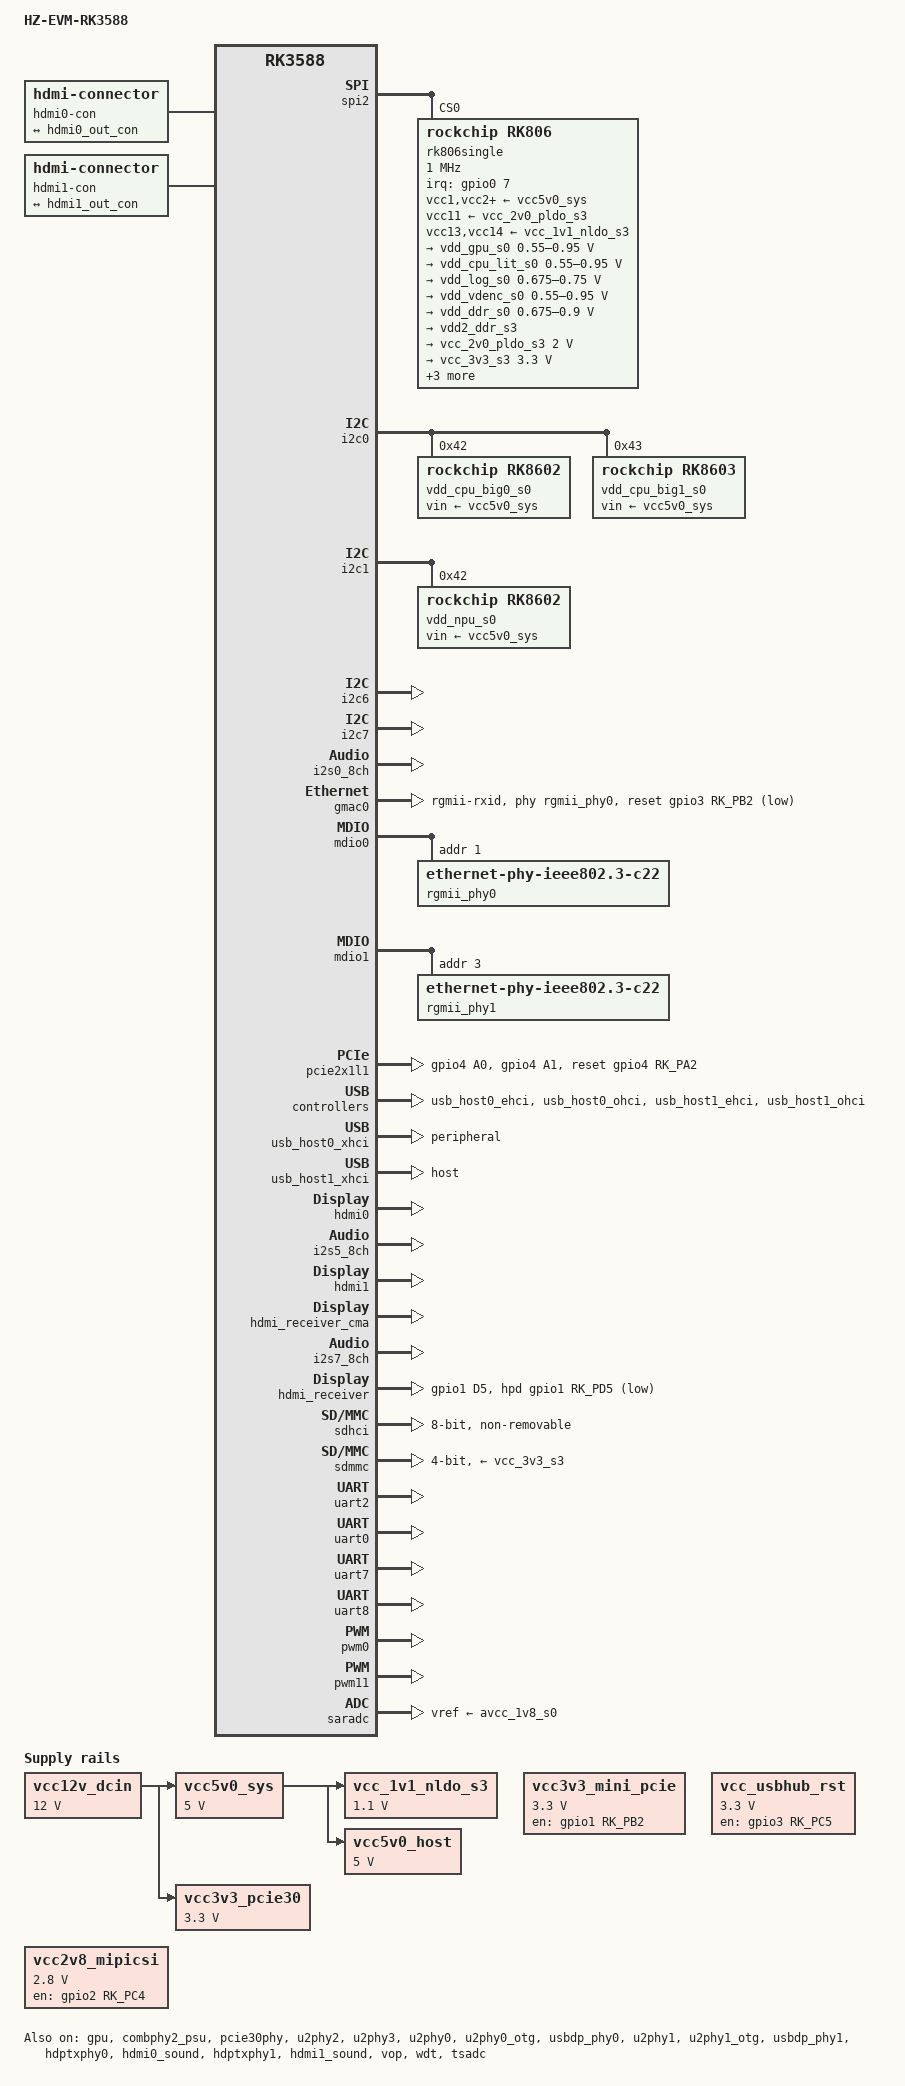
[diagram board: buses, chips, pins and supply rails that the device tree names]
// SPDX-License-Identifier: (GPL-2.0+ OR MIT)
/*
 * HZ-EVM-RK3588 (合众恒跃) board device tree
 * Mainline kernel 6.18 (Armbian current branch)
 *
 * Based on rockchip,rk3588-evb7-lp4-v10 BSP dts, ported to mainline.
 * PMIC (RK806 via spi2) + CPU regulators (rk8602/rk8603) reused from
 * EasePi-R2 mainline dts (identical bus/topology).
 *
 * Cameras (i2c4 + 4xIMX415 + rkcif/rkisp) omitted — mainline has no
 * rockchip-private rkcif/rkisp nodes; per board owner's request.
 * MIPI DSI panels not included either.
 */

/dts-v1/;

#include <dt-bindings/gpio/gpio.h>
#include <dt-bindings/input/input.h>
#include <dt-bindings/pinctrl/rockchip.h>
#include <dt-bindings/soc/rockchip,vop2.h>
#include <dt-bindings/usb/pd.h>
#include "rk3588.dtsi"

/ {
	model = "HZ-EVM-RK3588";
	compatible = "hezuo,hz-evm-rk3588", "rockchip,rk3588";

	aliases {
		mmc0 = &sdmmc;
		mmc1 = &sdhci;
		/* 必须给 U-Boot 的 fdt_fixup_ethernet 用，否则双千兆拿不到 MAC */
		ethernet0 = &gmac0;
		ethernet1 = &gmac1;
	};

	chosen {
		stdout-path = "serial2:1500000n8";
	};

	sound {
		compatible = "simple-audio-card";
		status = "disabled"; /* 先关：es8388 codec I2C 读不到，声卡先禁用 */
		simple-audio-card,format = "i2s";
		simple-audio-card,name = "HZ-EVM-ES8388";
		simple-audio-card,mclk-fs = <256>;

		simple-audio-card,cpu {
			sound-dai = <&i2s0_8ch>;
		};

		simple-audio-card,codec {
			sound-dai = <&es8388>;
			system-clock-frequency = <12288000>;
		};
	};

	/* fixed regulators */
	vcc12v_dcin: vcc12v-dcin {
		compatible = "regulator-fixed";
		regulator-always-on;
		regulator-boot-on;
		regulator-min-microvolt = <12000000>;
		regulator-max-microvolt = <12000000>;
		regulator-name = "vcc12v_dcin";
	};

	vcc5v0_sys: vcc5v0-sys {
		compatible = "regulator-fixed";
		regulator-always-on;
		regulator-boot-on;
		regulator-min-microvolt = <5000000>;
		regulator-max-microvolt = <5000000>;
		regulator-name = "vcc5v0_sys";
		vin-supply = <&vcc12v_dcin>;
	};

	vcc_1v1_nldo_s3: vcc-1v1-nldo-s3 {
		compatible = "regulator-fixed";
		regulator-always-on;
		regulator-boot-on;
		regulator-min-microvolt = <1100000>;
		regulator-max-microvolt = <1100000>;
		regulator-name = "vcc_1v1_nldo_s3";
		vin-supply = <&vcc5v0_sys>;
	};

	/* PCIe 3.0 (3x4) 3v3 supply */
	vcc3v3_pcie30: vcc3v3-pcie30 {
		compatible = "regulator-fixed";
		regulator-min-microvolt = <3300000>;
		regulator-max-microvolt = <3300000>;
		regulator-name = "vcc3v3_pcie30";
		vin-supply = <&vcc12v_dcin>;
	};

	/* mini-PCIe power enable (gpio1 PB2) */
	vcc3v3_mini_pcie: vcc3v3-mini-pcie-regulator {
		compatible = "regulator-fixed";
		regulator-always-on;
		enable-active-high;
		gpio = <&gpio1 RK_PB2 GPIO_ACTIVE_HIGH>;
		regulator-name = "vcc_pcie_regulator";
		regulator-min-microvolt = <3300000>;
		regulator-max-microvolt = <3300000>;
	};

	/* USB host 5v0 */
	vcc5v0_host: vcc5v0-host {
		compatible = "regulator-fixed";
		regulator-name = "vcc5v0_host";
		regulator-boot-on;
		regulator-always-on;
		regulator-min-microvolt = <5000000>;
		regulator-max-microvolt = <5000000>;
		enable-active-high;
		vin-supply = <&vcc5v0_sys>;
	};

	/* USB hub (GL852G) reset */
	vcc_usbhub_rst: vcc-usbhub-rst {
		compatible = "regulator-fixed";
		regulator-always-on;
		enable-active-high;
		gpio = <&gpio3 RK_PC5 GPIO_ACTIVE_HIGH>;
		regulator-name = "vcc_usbhub_rst";
		regulator-min-microvolt = <3300000>;
		regulator-max-microvolt = <3300000>;
	};

	/* MIPI CSI 2v8 (kept for hw, cameras themselves omitted) */
	vcc2v8_mipicsi: vcc2v8-mipics0-regulator {
		compatible = "regulator-fixed";
		enable-active-high;
		regulator-always-on;
		gpio = <&gpio2 RK_PC4 GPIO_ACTIVE_HIGH>;
		regulator-name = "vcc_mipicsi";
		regulator-min-microvolt = <2800000>;
		regulator-max-microvolt = <2800000>;
	};

	hdmi0-con {
		compatible = "hdmi-connector";
		type = "a";
		port {
			hdmi0_con_in: endpoint {
				remote-endpoint = <&hdmi0_out_con>;
			};
		};
	};

	hdmi1-con {
		compatible = "hdmi-connector";
		type = "a";
		port {
			hdmi1_con_in: endpoint {
				remote-endpoint = <&hdmi1_out_con>;
			};
		};
	};
};

/* ===== PMIC (RK806 via spi2 — identical to EasePi-R2) ===== */

&spi2 {
	assigned-clocks = <&cru CLK_SPI2>;
	assigned-clock-rates = <200000000>;
	num-cs = <1>;
	pinctrl-names = "default";
	pinctrl-0 = <&spi2m2_cs0 &spi2m2_pins>;
	status = "okay";

	rk806single: pmic@0 {
		compatible = "rockchip,rk806";
		reg = <0x0>;

		interrupt-parent = <&gpio0>;
		interrupts = <7 IRQ_TYPE_LEVEL_LOW>;

		pinctrl-names = "default";
		pinctrl-0 = <&pmic_pins>, <&rk806_dvs1_null>,
			    <&rk806_dvs2_null>, <&rk806_dvs3_null>;

		rockchip,reset-mode = <1>;
		long-press-off-time-sec = <10>;
		spi-max-frequency = <1000000>;
		system-power-controller;

		vcc1-supply = <&vcc5v0_sys>;
		vcc2-supply = <&vcc5v0_sys>;
		vcc3-supply = <&vcc5v0_sys>;
		vcc4-supply = <&vcc5v0_sys>;
		vcc5-supply = <&vcc5v0_sys>;
		vcc6-supply = <&vcc5v0_sys>;
		vcc7-supply = <&vcc5v0_sys>;
		vcc8-supply = <&vcc5v0_sys>;
		vcc9-supply = <&vcc5v0_sys>;
		vcc10-supply = <&vcc5v0_sys>;
		vcc11-supply = <&vcc_2v0_pldo_s3>;
		vcc12-supply = <&vcc5v0_sys>;
		vcc13-supply = <&vcc_1v1_nldo_s3>;
		vcc14-supply = <&vcc_1v1_nldo_s3>;
		vcca-supply = <&vcc5v0_sys>;

		gpio-controller;
		#gpio-cells = <2>;

		rk806_dvs1_null: dvs1-null-pins { pins = "gpio_pwrctrl1"; function = "pin_fun0"; };
		rk806_dvs2_null: dvs2-null-pins { pins = "gpio_pwrctrl2"; function = "pin_fun0"; };
		rk806_dvs3_null: dvs3-null-pins { pins = "gpio_pwrctrl3"; function = "pin_fun0"; };

		regulators {
			vdd_gpu_s0: vdd_gpu_mem_s0: dcdc-reg1 {
				regulator-boot-on; regulator-min-microvolt = <550000>;
				regulator-max-microvolt = <950000>; regulator-ramp-delay = <12500>;
				regulator-name = "vdd_gpu_s0"; regulator-enable-ramp-delay = <400>;
				regulator-state-mem { regulator-off-in-suspend; };
			};
			vdd_cpu_lit_s0: vdd_cpu_lit_mem_s0: dcdc-reg2 {
				regulator-always-on; regulator-boot-on; regulator-min-microvolt = <550000>;
				regulator-max-microvolt = <950000>; regulator-ramp-delay = <12500>;
				regulator-name = "vdd_cpu_lit_s0";
				regulator-state-mem { regulator-off-in-suspend; };
			};
			vdd_log_s0: dcdc-reg3 {
				regulator-always-on; regulator-boot-on; regulator-min-microvolt = <675000>;
				regulator-max-microvolt = <750000>; regulator-ramp-delay = <12500>;
				regulator-name = "vdd_log_s0";
				regulator-state-mem { regulator-off-in-suspend; regulator-suspend-microvolt = <750000>; };
			};
			vdd_vdenc_s0: vdd_vdenc_mem_s0: dcdc-reg4 {
				regulator-always-on; regulator-boot-on; regulator-min-microvolt = <550000>;
				regulator-max-microvolt = <950000>; regulator-ramp-delay = <12500>;
				regulator-name = "vdd_vdenc_s0";
				regulator-state-mem { regulator-off-in-suspend; };
			};
			vdd_ddr_s0: dcdc-reg5 {
				regulator-always-on; regulator-boot-on; regulator-min-microvolt = <675000>;
				regulator-max-microvolt = <900000>; regulator-ramp-delay = <12500>;
				regulator-name = "vdd_ddr_s0";
				regulator-state-mem { regulator-off-in-suspend; regulator-suspend-microvolt = <850000>; };
			};
			vdd2_ddr_s3: dcdc-reg6 {
				regulator-always-on; regulator-boot-on; regulator-name = "vdd2_ddr_s3";
				regulator-state-mem { regulator-on-in-suspend; };
			};
			vcc_2v0_pldo_s3: dcdc-reg7 {
				regulator-always-on; regulator-boot-on; regulator-min-microvolt = <2000000>;
				regulator-max-microvolt = <2000000>; regulator-ramp-delay = <12500>;
				regulator-name = "vdd_2v0_pldo_s3";
				regulator-state-mem { regulator-on-in-suspend; regulator-suspend-microvolt = <2000000>; };
			};
			vcc_3v3_s3: dcdc-reg8 {
				regulator-always-on; regulator-boot-on; regulator-min-microvolt = <3300000>;
				regulator-max-microvolt = <3300000>; regulator-name = "vcc_3v3_s3";
				regulator-state-mem { regulator-on-in-suspend; regulator-suspend-microvolt = <3300000>; };
			};
			vddq_ddr_s0: dcdc-reg9 {
				regulator-always-on; regulator-boot-on; regulator-name = "vddq_ddr_s0";
				regulator-state-mem { regulator-off-in-suspend; };
			};
			vcc_1v8_s3: dcdc-reg10 {
				regulator-always-on; regulator-boot-on; regulator-min-microvolt = <1800000>;
				regulator-max-microvolt = <1800000>; regulator-name = "vcc_1v8_s3";
				regulator-state-mem { regulator-on-in-suspend; regulator-suspend-microvolt = <1800000>; };
			};
			avcc_1v8_s0: pldo-reg1 {
				regulator-always-on; regulator-boot-on; regulator-min-microvolt = <1800000>;
				regulator-max-microvolt = <1800000>; regulator-name = "avcc_1v8_s0";
				regulator-state-mem { regulator-off-in-suspend; regulator-suspend-microvolt = <1800000>; };
			};
			vcc_1v8_s0: pldo-reg2 {
				regulator-always-on; regulator-boot-on; regulator-min-microvolt = <1800000>;
				regulator-max-microvolt = <1800000>; regulator-name = "vcc_1v8_s0";
				regulator-state-mem { regulator-off-in-suspend; regulator-suspend-microvolt = <1800000>; };
			};
			avdd_1v2_s0: pldo-reg3 {
				regulator-always-on; regulator-boot-on; regulator-min-microvolt = <1200000>;
				regulator-max-microvolt = <1200000>; regulator-name = "avdd_1v2_s0";
				regulator-state-mem { regulator-off-in-suspend; };
			};
			vcc_3v3_s0: avcc_3v3_s0: pldo-reg4 {
				regulator-always-on; regulator-boot-on; regulator-min-microvolt = <3300000>;
				regulator-max-microvolt = <3300000>; regulator-ramp-delay = <12500>;
				regulator-name = "avcc_3v3_s0";
				regulator-state-mem { regulator-off-in-suspend; };
			};
			vccio_sd_s0: pldo-reg5 {
				regulator-always-on; regulator-boot-on; regulator-min-microvolt = <1800000>;
				regulator-max-microvolt = <3300000>; regulator-ramp-delay = <12500>;
				regulator-name = "vccio_sd_s0";
				regulator-state-mem { regulator-off-in-suspend; };
			};
			pldo6_s3: pldo-reg6 {
				regulator-always-on; regulator-boot-on; regulator-min-microvolt = <1800000>;
				regulator-max-microvolt = <1800000>; regulator-name = "pldo6_s3";
				regulator-state-mem { regulator-on-in-suspend; regulator-suspend-microvolt = <1800000>; };
			};
			vdd_0v75_s3: nldo-reg1 {
				regulator-always-on; regulator-boot-on; regulator-min-microvolt = <750000>;
				regulator-max-microvolt = <750000>; regulator-name = "vdd_0v75_s3";
				regulator-state-mem { regulator-on-in-suspend; regulator-suspend-microvolt = <750000>; };
			};
			vdd_ddr_pll_s0: avdd_ddr_pll_s0: nldo-reg2 {
				regulator-always-on; regulator-boot-on; regulator-min-microvolt = <850000>;
				regulator-max-microvolt = <850000>; regulator-name = "avdd_ddr_pll_s0";
				regulator-state-mem { regulator-off-in-suspend; regulator-suspend-microvolt = <850000>; };
			};
			avdd_0v75_s0: nldo-reg3 {
				regulator-always-on; regulator-boot-on; regulator-min-microvolt = <837500>;
				regulator-max-microvolt = <837500>; regulator-name = "avdd_0v75_s0";
				regulator-state-mem { regulator-off-in-suspend; };
			};
			vdd_0v85_s0: avdd_0v85_s0: nldo-reg4 {
				regulator-always-on; regulator-boot-on; regulator-min-microvolt = <850000>;
				regulator-max-microvolt = <850000>; regulator-name = "avdd_0v85_s0";
				regulator-state-mem { regulator-off-in-suspend; };
			};
			vdd_0v75_s0: nldo-reg5 {
				regulator-always-on; regulator-boot-on; regulator-min-microvolt = <750000>;
				regulator-max-microvolt = <750000>; regulator-name = "vdd_0v75_s0";
				regulator-state-mem { regulator-off-in-suspend; };
			};
		};
	};
};

/* ===== CPU Power (rk8602/rk8603 — same as EasePi) ===== */

&cpu_l0 { cpu-supply = <&vdd_cpu_lit_s0>; };
&cpu_l1 { cpu-supply = <&vdd_cpu_lit_s0>; };
&cpu_l2 { cpu-supply = <&vdd_cpu_lit_s0>; };
&cpu_l3 { cpu-supply = <&vdd_cpu_lit_s0>; };
&cpu_b0 { cpu-supply = <&vdd_cpu_big0_s0>; };
&cpu_b1 { cpu-supply = <&vdd_cpu_big0_s0>; };
&cpu_b2 { cpu-supply = <&vdd_cpu_big1_s0>; };
&cpu_b3 { cpu-supply = <&vdd_cpu_big1_s0>; };

/* 修 cpufreq 启动警告：mainline U-Boot 把大核(CPU4-7)交接在内核时停在 1008MHz，
 * 但 rk3588-opp.dtsi 的 big-cluster OPP 表最低档是 1200MHz，内核报
 * "Running at unlisted initial frequency: 1008000 kHz"。给 cluster1/cluster2 追一条
 * 1008MHz OPP（电压取 1200MHz 档标称 675000，保守安全）使其合法化，警告即消失。
 * little-cluster(cluster0) 本来就有 1008 档，所以只有大核报。 */
&cluster1_opp_table {
	opp-1008000000 {
		opp-hz = /bits/ 64 <1008000000>;
		opp-microvolt = <675000 675000 1000000>;
		clock-latency-ns = <40000>;
	};
};

&cluster2_opp_table {
	opp-1008000000 {
		opp-hz = /bits/ 64 <1008000000>;
		opp-microvolt = <675000 675000 1000000>;
		clock-latency-ns = <40000>;
	};
};

&i2c0 {
	pinctrl-names = "default";
	pinctrl-0 = <&i2c0m2_xfer>;
	status = "okay";

	vdd_cpu_big0_s0: regulator@42 {
		compatible = "rockchip,rk8602";
		reg = <0x42>;
		fcs,suspend-voltage-selector = <1>;
		regulator-name = "vdd_cpu_big0_s0";
		regulator-always-on; regulator-boot-on;
		regulator-min-microvolt = <550000>; regulator-max-microvolt = <1050000>;
		regulator-ramp-delay = <2300>;
		vin-supply = <&vcc5v0_sys>;
		regulator-state-mem { regulator-off-in-suspend; };
	};

	vdd_cpu_big1_s0: regulator@43 {
		compatible = "rockchip,rk8603", "rockchip,rk8602";
		reg = <0x43>;
		fcs,suspend-voltage-selector = <1>;
		regulator-name = "vdd_cpu_big1_s0";
		regulator-always-on; regulator-boot-on;
		regulator-min-microvolt = <550000>; regulator-max-microvolt = <1050000>;
		regulator-ramp-delay = <2300>;
		vin-supply = <&vcc5v0_sys>;
		regulator-state-mem { regulator-off-in-suspend; };
	};
};

&i2c1 {
	pinctrl-names = "default";
	pinctrl-0 = <&i2c1m2_xfer>;
	status = "okay";

	vdd_npu_s0: regulator@42 {
		compatible = "rockchip,rk8602";
		reg = <0x42>;
		fcs,suspend-voltage-selector = <1>;
		regulator-name = "vdd_npu_s0";
		regulator-always-on; regulator-boot-on;
		regulator-min-microvolt = <550000>; regulator-max-microvolt = <950000>;
		regulator-ramp-delay = <2300>;
		vin-supply = <&vcc5v0_sys>;
		regulator-state-mem { regulator-off-in-suspend; };
	};
};

/* ===== GPU ===== */
&gpu { mali-supply = <&vdd_gpu_s0>; status = "okay"; };
&pd_gpu { domain-supply = <&vdd_gpu_s0>; };

/* ===== RTC (pcf8563 on i2c6) ===== */
&i2c6 {
	pinctrl-names = "default";
	pinctrl-0 = <&i2c6m0_xfer>;
	status = "okay";

	pcf8563: rtc@51 {
		compatible = "nxp,pcf8563";
		status = "disabled"; /* 先关：pcf8563_probe write error */
		reg = <0x51>;
		#clock-cells = <0>;
	};
};

/* ===== Audio (es8388 on i2c7) ===== */
&i2c7 {
	pinctrl-names = "default";
	pinctrl-0 = <&i2c7m0_xfer>;
	status = "okay";

	es8388: audio-codec@11 {
		compatible = "everest,es8388", "everest,es8328";
		status = "disabled"; /* 先关：I2C 读不到，ASoC 一堆 -6 报错 */
		reg = <0x11>;
		#sound-dai-cells = <0>;
		clocks = <&cru I2S0_8CH_MCLKOUT>;
		assigned-clocks = <&cru I2S0_8CH_MCLKOUT>;
		assigned-clock-rates = <12288000>;
	};
};

&i2s0_8ch {
	status = "okay";
	pinctrl-names = "default";
	pinctrl-0 = <&i2s0_lrck &i2s0_mclk &i2s0_sclk &i2s0_sdi0 &i2s0_sdo0>;
};

/* ===== Ethernet (dual GbE gmac0/gmac1, rgmii-rxid) ===== */

&gmac0 {
	phy-mode = "rgmii-rxid";
	clock_in_out = "output";
	snps,reset-gpio = <&gpio3 RK_PB2 GPIO_ACTIVE_LOW>;
	snps,reset-active-low;
	snps,reset-delays-us = <0 20000 100000>;
	pinctrl-names = "default";
	pinctrl-0 = <&gmac0_miim &gmac0_tx_bus2 &gmac0_rx_bus2
		     &gmac0_rgmii_clk &gmac0_rgmii_bus>;
	tx_delay = <0x43>;
	phy-handle = <&rgmii_phy0>;
	status = "okay";
};

&gmac1 {
	phy-mode = "rgmii-rxid";
	clock_in_out = "output";
	snps,reset-gpio = <&gpio3 RK_PB7 GPIO_ACTIVE_LOW>;
	snps,reset-active-low;
	snps,reset-delays-us = <0 20000 100000>;
	pinctrl-names = "default";
	pinctrl-0 = <&gmac1_miim &gmac1_tx_bus2 &gmac1_rx_bus2
		     &gmac1_rgmii_clk &gmac1_rgmii_bus>;
	tx_delay = <0x43>;
	phy-handle = <&rgmii_phy1>;
	status = "disabled"; /* 先关：gmac1 PHY 无应答(-ENODEV, MDIO addr 3 missing) */
};

&mdio0 {
	rgmii_phy0: ethernet-phy@1 {
		compatible = "ethernet-phy-ieee802.3-c22";
		reg = <0x1>;
	};
};

&mdio1 {
	rgmii_phy1: ethernet-phy@3 {
		compatible = "ethernet-phy-ieee802.3-c22";
		reg = <0x3>;
	};
};

/* ===== PCIe (2x1l1 via combphy2_psu, 3x4) ===== */

&combphy2_psu { status = "okay"; };

&pcie2x1l2 { status = "disabled"; };
&pcie2x1l0 { status = "disabled"; };

&pcie2x1l1 {
	pinctrl-names = "default";
	pinctrl-0 = <&pcie2x1l1_pins>;
	reset-gpios = <&gpio4 RK_PA2 GPIO_ACTIVE_HIGH>;
	status = "okay";
};

&pcie30phy {
	data-lanes = <1 3 2 4>;
	status = "okay";
};

/* ★ 确认挂死元凶：pcie3x4 (fe150000, 4-lane PCIe 3.0)。
 * 实测：pcie3x4-ON 内核在 "host bridge /pcie@fe150000 ranges:" 后死等，进不了 login；
 *       pcie3x4-OFF 正常进系统。故暂关以保基线可用，待修 PERST#/供电/combphy 后重开。
 * 修复方向（需底板原理图确认）：
 *   - reset-gpios 的 PERST# 脚位/极性是否与硬件一致
 *   - vpcie3v3-supply(=vcc3v3_pcie30) 的 3.3V 使能是否真能开（是否另有使能 GPIO）
 *   - pcie30phy data-lanes 顺序是否匹配板级走线
 */
&pcie3x4 {
	reset-gpios = <&gpio4 RK_PB6 GPIO_ACTIVE_HIGH>;
	vpcie3v3-supply = <&vcc3v3_pcie30>;
	status = "disabled";
};

&pcie3x2 { status = "disabled"; };

/* ===== USB ===== */

/* usb2.0 host0/1 */
&u2phy2 { status = "okay"; };
&u2phy2_host { phy-supply = <&vcc5v0_host>; };
&usb_host0_ehci { status = "okay"; };
&usb_host0_ohci { status = "okay"; };

&u2phy3 { status = "okay"; };
&u2phy3_host { phy-supply = <&vcc5v0_host>; };
&usb_host1_ehci { status = "okay"; };
&usb_host1_ohci { status = "okay"; };

/* usb3.0 otg0 (peripheral) */
&u2phy0 { status = "okay"; };
&u2phy0_otg { status = "okay"; };
&usbdp_phy0 {
	rockchip,dp-lane-mux = <2 3>;
	status = "okay";
};
&usb_host0_xhci {
	dr_mode = "peripheral";
	status = "okay";
};

/* usb3.0 host1 */
&u2phy1 { status = "okay"; };
&u2phy1_otg { phy-supply = <&vcc5v0_host>; status = "okay"; };
&usbdp_phy1 {
	rockchip,dp-lane-mux = <2 3>;
	status = "okay";
};
&usb_host1_xhci {
	dr_mode = "host";
	status = "okay";
};

/* dp0/dp1 disabled (share usbdp_phy) */
&dp0 { status = "disabled"; };
&dp1 { status = "disabled"; };

/* ===== HDMI0 + HDMI1 ===== */

&hdmi0 {
	status = "okay";
};

&hdmi0_in {
	hdmi0_in_vp0: endpoint {
		remote-endpoint = <&vp0_out_hdmi0>;
	};
};

&hdmi0_out {
	hdmi0_out_con: endpoint {
		remote-endpoint = <&hdmi0_con_in>;
	};
};

&hdptxphy0 { status = "okay"; };
&hdmi0_sound { status = "okay"; };
&i2s5_8ch { status = "okay"; };

&hdmi1 {
	status = "okay";
};

&hdmi1_in {
	hdmi1_in_vp1: endpoint {
		remote-endpoint = <&vp1_out_hdmi1>;
	};
};

&hdmi1_out {
	hdmi1_out_con: endpoint {
		remote-endpoint = <&hdmi1_con_in>;
	};
};

&hdptxphy1 { status = "okay"; };
&hdmi1_sound { status = "okay"; };

&vop_mmu { status = "okay"; };
&vop { status = "okay"; };

&vp0 {
	vp0_out_hdmi0: endpoint@ROCKCHIP_VOP2_EP_HDMI0 {
		reg = <ROCKCHIP_VOP2_EP_HDMI0>;
		remote-endpoint = <&hdmi0_in_vp0>;
	};
};

&vp1 {
	vp1_out_hdmi1: endpoint@ROCKCHIP_VOP2_EP_HDMI1 {
		reg = <ROCKCHIP_VOP2_EP_HDMI1>;
		remote-endpoint = <&hdmi1_in_vp1>;
	};
};

/* ===== HDMI RX ===== */
&hdmi_receiver_cma { status = "okay"; };
&i2s7_8ch { status = "okay"; };
&hdmi_receiver {
	hpd-gpios = <&gpio1 RK_PD5 GPIO_ACTIVE_LOW>;
	pinctrl-0 = <&hdmim1_rx_cec &hdmim1_rx_hpdin &hdmim1_rx_scl &hdmim1_rx_sda &hdmirx_det>;
	pinctrl-names = "default";
	status = "okay";
};

/* ===== Storage ===== */

&sdhci {
	bus-width = <8>;
	no-sdio;
	no-sd;
	non-removable;
	max-frequency = <200000000>;
	mmc-hs400-1_8v;
	mmc-hs400-enhanced-strobe;
	status = "okay";
};

&sdmmc {
	bus-width = <4>;
	cap-mmc-highspeed;
	cap-sd-highspeed;
	disable-wp;
	no-mmc;
	no-sdio;
	vmmc-supply = <&vcc_3v3_s3>;
	vqmmc-supply = <&vccio_sd_s0>;
	status = "okay";
};

/* ===== UART ===== */

/* ★ 调试串口 UART2 (serial@feb50000) —— chosen.stdout-path 指向它，
 * 主线 dtsi 里默认是 disabled，不开的话内核一个字节都不吐（看着像死机）。
 *
 * ★★ 必须显式指定 uart2m0_xfer（GPIO0_PB5/PB6）！
 * SoC 默认 pinctrl-0 是 uart2m1_xfer = GPIO4_PD0/PD1，
 * 而 sdmmc_bus4 占的正是 GPIO4_PD0~PD3 —— 两者冲突会导致
 *   "pin gpio4-24 already requested by feb50000.serial; cannot claim for fe2c0000.mmc"
 *   "dwmmc_rockchip fe2c0000.mmc: Error applying setting"
 * → SD 卡控制器起不来，rootfs 挂不上，卡死在 initramfs。
 */
&uart2 {
	pinctrl-names = "default";
	pinctrl-0 = <&uart2m0_xfer>;
	status = "okay";
};

&uart0 {
	pinctrl-names = "default";
	pinctrl-0 = <&uart0m0_xfer>;
	status = "okay";
};

&uart7 {
	pinctrl-names = "default";
	pinctrl-0 = <&uart7m1_xfer>;
	status = "okay";
};

&uart8 {
	pinctrl-names = "default";
	pinctrl-0 = <&uart8m0_xfer>;
	status = "okay";
};

/* ===== CAN =====
 * 主线内核没有 BSP 专有的 can0/can1 节点（rockchip,can-2.0），
 * 引用会报 "Label or path can0 not found"。先摘掉以跑通主线；
 * 后续要 CAN 需改用主线绑定 rockchip,rk3588-canfd（引脚/时钟另配）。
 */

/* ===== Watchdog ===== */
&wdt { status = "okay"; };

/* ===== PWM (dsi0/dsi1 backlight, kept for hw) ===== */
&pwm0 {
	pinctrl-0 = <&pwm0m2_pins>;
	pinctrl-names = "active";
	status = "okay";
};
&pwm11 {
	pinctrl-0 = <&pwm11m2_pins>;
	pinctrl-names = "active";
	status = "okay";
};

/* ===== Pin Control ===== */

&pinctrl {
	pcie20x1 {
		pcie2x1l1_pins: pcie2x1l1-pins {
			rockchip,pins =
				<4 RK_PA0 4 &pcfg_pull_none>,
				<4 RK_PA1 4 &pcfg_pull_none>;
		};
	};

	hdmirx {
		hdmirx_det: hdmirx-det {
			rockchip,pins = <1 RK_PD5 RK_FUNC_GPIO &pcfg_pull_up>;
		};
	};

	headphone {
		hp_det: hp-det {
			rockchip,pins = <0 RK_PD3 RK_FUNC_GPIO &pcfg_pull_none>;
		};
	};
};

/* ===== Thermal / ADC ===== */
&saradc {
	vref-supply = <&avcc_1v8_s0>;
	status = "okay";
};

&tsadc { status = "okay"; };
